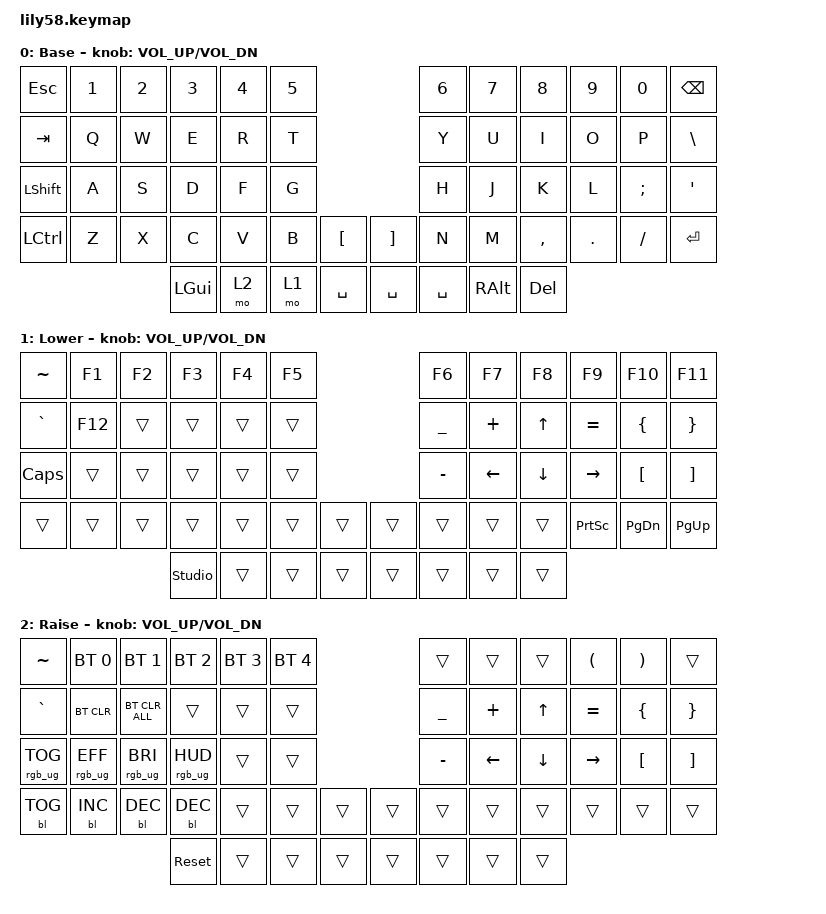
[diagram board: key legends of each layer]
/*
 * Copyright (c) 2020 The ZMK Contributors
 *
 * SPDX-License-Identifier: MIT
 */

#include <behaviors.dtsi>
#include <dt-bindings/zmk/backlight.h>
#include <dt-bindings/zmk/bt.h>
#include <dt-bindings/zmk/keys.h>
#include <dt-bindings/zmk/rgb.h>

/ {
    keymap {
        compatible = "zmk,keymap";

        default_layer {
            // ------------------------------------------------------------------------------------------------------------
            // |  ESC  |  1  |  2  |  3   |  4   |  5   |                   |  6   |  7    |  8    |  9   |   0   |   `   |
            // |  TAB  |  Q  |  W  |  E   |  R   |  T   |                   |  Y   |  U    |  I    |  O   |   P   |   -   |
            // |  CTRL |  A  |  S  |  D   |  F   |  G   |                   |  H   |  J    |  K    |  L   |   ;   |   '   |
            // | SHIFT |  Z  |  X  |  C   |  V   |  B   |   "["  |  |  "]"  |  N   |  M    |  ,    |  .   |   /   | SHIFT |
            //                     | ALT  | GUI  | LOWER|  SPACE |  | ENTER | RAISE| BSPC  | GUI   |

            display-name = "Base";
            bindings = <
&kp ESC         &kp N1  &kp N2  &kp N3        &kp N4  &kp N5                          &kp N6     &kp N7         &kp N8     &kp N9   &kp N0    &kp BACKSPACE
&kp TAB         &kp Q   &kp W   &kp E         &kp R   &kp T                           &kp Y      &kp U          &kp I      &kp O    &kp P     &kp BACKSLASH
&kp LEFT_SHIFT  &kp A   &kp S   &kp D         &kp F   &kp G                           &kp H      &kp J          &kp K      &kp L    &kp SEMI  &kp SQT
&kp LCTRL       &kp Z   &kp X   &kp C         &kp V   &kp B   &kp LBKT     &kp RBKT   &kp N      &kp M          &kp COMMA  &kp DOT  &kp FSLH  &kp ENTER
                                &kp LEFT_GUI  &mo 2   &mo 1   &kp SPACE    &kp SPACE  &kp SPACE  &kp RIGHT_ALT  &kp DEL
            >;

            sensor-bindings = <&inc_dec_kp C_VOL_UP C_VOL_DN>;
        };

        lower_layer {
            // ------------------------------------------------------------------------------------------------------------
            // | BTCLR | BT1 | BT2 |  BT3 |  BT4 |  BT5 |                   |      |       |       |      |       |       |
            // |  F1   |  F2 |  F3 |  F4  |  F5  |  F6  |                   |  F7  |  F8   |  F9   |  F10 |  F11  |  F12  |
            // |   `   |  !  |  @  |  #   |  $   |  %   |                   |  ^   |  &    |  *    |  (   |   )   |   ~   |
            // |       |     |     |      |      |      |        |  |       |      |  _    |  +    |  {   |   }   |  "|"  |
            //                     |      |      |      |        |  |       |      |       |       |

            display-name = "Lower";
            bindings = <
&kp TILDE  &kp F1   &kp F2  &kp F3          &kp F4  &kp F5                    &kp F6          &kp F7          &kp F8          &kp F9           &kp F10           &kp F11
&kp GRAVE  &kp F12  &trans  &trans          &trans  &trans                    &kp UNDERSCORE  &kp PLUS        &kp UP_ARROW    &kp EQUAL        &kp LEFT_BRACE    &kp RIGHT_BRACE
&kp CAPS   &trans   &trans  &trans          &trans  &trans                    &kp MINUS       &kp LEFT_ARROW  &kp DOWN_ARROW  &kp RIGHT        &kp LEFT_BRACKET  &kp RIGHT_BRACKET
&trans     &trans   &trans  &trans          &trans  &trans  &trans    &trans  &trans          &trans          &trans          &kp PRINTSCREEN  &kp PAGE_DOWN     &kp PG_UP
                            &studio_unlock  &trans  &trans  &trans    &trans  &trans          &trans          &trans
            >;

            sensor-bindings = <&inc_dec_kp C_VOL_UP C_VOL_DN>;
        };

        raise_layer {
            // ------------------------------------------------------------------------------------------------------------
            // |       |     |     |      |      |      |                   |      |       |       |      |       |       |
            // |   `   |  1  |  2  |  3   |  4   |  5   |                   |  6   |   7   |   8   |  9   |   0   |       |
            // |   F1  |  F2 |  F3 |  F4  |  F5  |  F6  |                   |      |   <-  |   v   |  ^   |  ->   |       |
            // |   F7  |  F8 |  F9 |  F10 |  F11 |  F12 |        |  |       |  +   |   -   |   =   |  [   |   ]   |   \   |
            //                     |      |      |      |        |  |       |      |       |       |

            display-name = "Raise";
            bindings = <
&kp TILDE        &bt BT_SEL 0     &bt BT_SEL 1     &bt BT_SEL 2     &bt BT_SEL 3  &bt BT_SEL 4                    &trans     &trans    &trans    &kp LEFT_PARENTHESIS  &kp RIGHT_PARENTHESIS  &trans
&kp GRAVE        &bt BT_CLR       &bt BT_CLR_ALL   &trans           &trans        &trans                          &kp UNDER  &kp PLUS  &kp UP    &kp EQUAL             &kp LEFT_BRACE         &kp RIGHT_BRACE
&rgb_ug RGB_TOG  &rgb_ug RGB_EFF  &rgb_ug RGB_BRI  &rgb_ug RGB_HUD  &trans        &trans                          &kp MINUS  &kp LEFT  &kp DOWN  &kp RIGHT             &kp LEFT_BRACKET       &kp RIGHT_BRACKET
&bl BL_TOG       &bl BL_INC       &bl BL_DEC       &bl BL_DEC       &trans        &trans        &trans    &trans  &trans     &trans    &trans    &trans                &trans                 &trans
                                                   &sys_reset       &trans        &trans        &trans    &trans  &trans     &trans    &trans
            >;

            sensor-bindings = <&inc_dec_kp C_VOL_UP C_VOL_DN>;
        };

        extra_1 { status = "reserved"; };

        extra_2 { status = "reserved"; };

        extra_3 { status = "reserved"; };
    };
};
